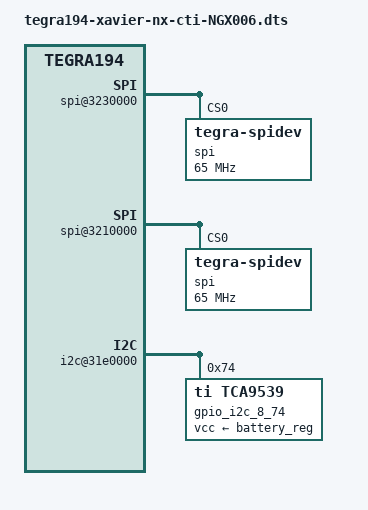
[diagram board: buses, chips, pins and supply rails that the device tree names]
#include "tegra194-xavier-nx-cti-base.dtsi"

/{

	nvidia,dtsfilename = "tegra194-xavier-nx-cti-NGX006.dts";

	clocks-init {
		compatible = "nvidia,clocks-config";
		status = "okay";
		disable {
			clocks = <&aon_clks TEGRA194_CLK_PLLAON>,
				<&bpmp_clks TEGRA194_CLK_CAN1>,
				<&bpmp_clks TEGRA194_CLK_CAN2>;
		};
	};
	
	mttcan@c310000 {
		status = "okay";
	};

			
	sdhci@3440000 {
        cd-gpios = <&tegra_main_gpio TEGRA194_MAIN_GPIO(Q, 2) 0>;

    };
	
	spi@3230000{/*SPI3*/
		status = "okay";
		compatible = "nvidia,tegra186-spi";
		spi@0{
			compatible = "tegra-spidev";
			reg=<0>;
			spi-max-frequency = <65000000>;
				controller-data{
				nvidia,enable-hw-based-cs;
			};
		};

	};

	spi@3210000{/*SPI1*/
		status = "okay";
		compatible = "nvidia,tegra186-spi";
		spi@0 {
			compatible = "tegra-spidev";
			reg = <0x0>;
			spi-max-frequency = <65000000>;
				controller-data{
				nvidia,enable-hw-based-cs;
			};
		};
	};
	
	i2c@31e0000 {
        gpio_i2c_8_74: gpio@74 {
                    compatible = "ti,tca9539";
                    reg = <0x74>;
                    gpio-controller;
                    #gpio-cells = <2>;
                    #address-cells = <1>;
            		#size-cells = <0>;
                    vcc-supply = <&battery_reg>;
        };
    };




};
